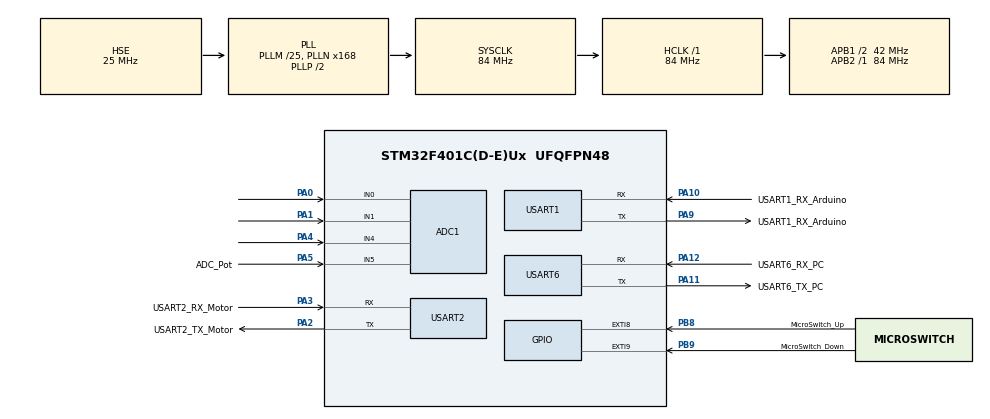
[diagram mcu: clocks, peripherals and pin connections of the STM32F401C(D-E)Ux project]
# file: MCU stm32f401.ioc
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ADC1.Channel-0\#ChannelRegularConversion=ADC_CHANNEL_0
ADC1.Channel-1\#ChannelRegularConversion=ADC_CHANNEL_1
ADC1.Channel-2\#ChannelRegularConversion=ADC_CHANNEL_4
ADC1.Channel-3\#ChannelRegularConversion=ADC_CHANNEL_5
ADC1.ClockPrescaler=ADC_CLOCK_SYNC_PCLK_DIV8
ADC1.ContinuousConvMode=ENABLE
ADC1.DMAContinuousRequests=ENABLE
ADC1.NbrOfConversion=4
ADC1.NbrOfConversionFlag=1
ADC1.Rank-0\#ChannelRegularConversion=1
ADC1.Rank-1\#ChannelRegularConversion=2
ADC1.Rank-2\#ChannelRegularConversion=3
ADC1.Rank-3\#ChannelRegularConversion=4
ADC1.SamplingTime-0\#ChannelRegularConversion=ADC_SAMPLETIME_480CYCLES
ADC1.SamplingTime-1\#ChannelRegularConversion=ADC_SAMPLETIME_480CYCLES
ADC1.SamplingTime-2\#ChannelRegularConversion=ADC_SAMPLETIME_480CYCLES
ADC1.SamplingTime-3\#ChannelRegularConversion=ADC_SAMPLETIME_480CYCLES
ADC1.ScanConvMode=ENABLE
ADC1.master=1
Dma.ADC1.3.Direction=DMA_PERIPH_TO_MEMORY
Dma.ADC1.3.FIFOMode=DMA_FIFOMODE_DISABLE
Dma.ADC1.3.Instance=DMA2_Stream0
Dma.ADC1.3.MemDataAlignment=DMA_MDATAALIGN_WORD
Dma.ADC1.3.MemInc=DMA_MINC_ENABLE
Dma.ADC1.3.Mode=DMA_CIRCULAR
Dma.ADC1.3.PeriphDataAlignment=DMA_PDATAALIGN_WORD
Dma.ADC1.3.PeriphInc=DMA_PINC_DISABLE
Dma.ADC1.3.Priority=DMA_PRIORITY_LOW
Dma.Request0=USART1_RX
Dma.Request1=USART2_RX
Dma.Request2=USART6_RX
Dma.Request3=ADC1
Dma.Request4=USART6_TX
Dma.Request5=USART2_TX
Dma.USART1_RX.0.Direction=DMA_PERIPH_TO_MEMORY
Dma.USART1_RX.0.FIFOMode=DMA_FIFOMODE_DISABLE
Dma.USART1_RX.0.Instance=DMA2_Stream2
Dma.USART1_RX.0.MemDataAlignment=DMA_MDATAALIGN_BYTE
Dma.USART1_RX.0.MemInc=DMA_MINC_ENABLE
Dma.USART1_RX.0.Mode=DMA_NORMAL
Dma.USART1_RX.0.PeriphDataAlignment=DMA_PDATAALIGN_BYTE
Dma.USART1_RX.0.PeriphInc=DMA_PINC_DISABLE
Dma.USART1_RX.0.Priority=DMA_PRIORITY_LOW
Dma.USART2_RX.1.Direction=DMA_PERIPH_TO_MEMORY
Dma.USART2_RX.1.FIFOMode=DMA_FIFOMODE_DISABLE
Dma.USART2_RX.1.Instance=DMA1_Stream5
Dma.USART2_RX.1.MemDataAlignment=DMA_MDATAALIGN_BYTE
Dma.USART2_RX.1.MemInc=DMA_MINC_ENABLE
Dma.USART2_RX.1.Mode=DMA_NORMAL
Dma.USART2_RX.1.PeriphDataAlignment=DMA_PDATAALIGN_BYTE
Dma.USART2_RX.1.PeriphInc=DMA_PINC_DISABLE
Dma.USART2_RX.1.Priority=DMA_PRIORITY_LOW
Dma.USART2_TX.5.Direction=DMA_MEMORY_TO_PERIPH
Dma.USART2_TX.5.FIFOMode=DMA_FIFOMODE_DISABLE
Dma.USART2_TX.5.Instance=DMA1_Stream6
Dma.USART2_TX.5.MemDataAlignment=DMA_MDATAALIGN_BYTE
Dma.USART2_TX.5.MemInc=DMA_MINC_ENABLE
Dma.USART2_TX.5.Mode=DMA_NORMAL
Dma.USART2_TX.5.PeriphDataAlignment=DMA_PDATAALIGN_BYTE
Dma.USART2_TX.5.PeriphInc=DMA_PINC_DISABLE
Dma.USART2_TX.5.Priority=DMA_PRIORITY_LOW
Dma.USART6_RX.2.Direction=DMA_PERIPH_TO_MEMORY
Dma.USART6_RX.2.FIFOMode=DMA_FIFOMODE_DISABLE
Dma.USART6_RX.2.Instance=DMA2_Stream1
Dma.USART6_RX.2.MemDataAlignment=DMA_MDATAALIGN_BYTE
Dma.USART6_RX.2.MemInc=DMA_MINC_ENABLE
Dma.USART6_RX.2.Mode=DMA_NORMAL
Dma.USART6_RX.2.PeriphDataAlignment=DMA_PDATAALIGN_BYTE
Dma.USART6_RX.2.PeriphInc=DMA_PINC_DISABLE
Dma.USART6_RX.2.Priority=DMA_PRIORITY_LOW
Dma.USART6_TX.4.Direction=DMA_MEMORY_TO_PERIPH
Dma.USART6_TX.4.FIFOMode=DMA_FIFOMODE_DISABLE
Dma.USART6_TX.4.Instance=DMA2_Stream6
Dma.USART6_TX.4.MemDataAlignment=DMA_MDATAALIGN_BYTE
Dma.USART6_TX.4.MemInc=DMA_MINC_ENABLE
Dma.USART6_TX.4.Mode=DMA_NORMAL
Dma.USART6_TX.4.PeriphDataAlignment=DMA_PDATAALIGN_BYTE
Dma.USART6_TX.4.PeriphInc=DMA_PINC_DISABLE
Dma.USART6_TX.4.Priority=DMA_PRIORITY_LOW
Mcu.Family=STM32F4
Mcu.Name=STM32F401C(D-E)Ux
Mcu.Package=UFQFPN48
NVIC.DMA1_Stream5_IRQn=true\:0\:0\:false\:false\:true\:false\:true\:true
NVIC.DMA1_Stream6_IRQn=true\:0\:0\:false\:false\:true\:false\:true\:true
NVIC.DMA2_Stream0_IRQn=true\:0\:0\:false\:false\:true\:false\:true\:true
NVIC.DMA2_Stream1_IRQn=true\:0\:0\:false\:false\:true\:false\:true\:true
NVIC.DMA2_Stream2_IRQn=true\:0\:0\:false\:false\:true\:false\:true\:true
NVIC.DMA2_Stream6_IRQn=true\:0\:0\:false\:false\:true\:false\:true\:true
NVIC.EXTI9_5_IRQn=true\:0\:0\:false\:false\:true\:true\:true\:true
NVIC.PriorityGroup=NVIC_PRIORITYGROUP_4
PA0-WKUP.Signal=ADCx_IN0
PA1.Signal=ADCx_IN1
PA10.GPIO_Label=USART1_RX_Arduino
PA10.Mode=Asynchronous
PA10.Signal=USART1_RX
PA11.GPIO_Label=USART6_TX_PC
PA11.Mode=Asynchronous
PA11.Signal=USART6_TX
PA12.GPIO_Label=USART6_RX_PC
PA12.Mode=Asynchronous
PA12.Signal=USART6_RX
PA13.Mode=Serial_Wire
PA13.Signal=SYS_JTMS-SWDIO
PA14.Mode=Serial_Wire
PA14.Signal=SYS_JTCK-SWCLK
PA2.GPIO_Label=USART2_TX_Motor
PA2.Mode=Asynchronous
PA2.Signal=USART2_TX
PA3.GPIO_Label=USART2_RX_Motor
PA3.Mode=Asynchronous
PA3.Signal=USART2_RX
PA4.Signal=ADCx_IN4
PA5.GPIO_Label=ADC_Pot
PA5.Signal=ADCx_IN5
PA9.GPIO_Label=USART1_RX_Arduino
PA9.Mode=Asynchronous
PA9.Signal=USART1_TX
PB8.GPIO_Label=MicroSwitch_Up
PB8.GPIO_PuPd=GPIO_PULLUP
PB8.Signal=GPXTI8
PB9.GPIO_Label=MicroSwitch_Down
PB9.GPIO_ModeDefaultEXTI=GPIO_MODE_IT_FALLING
PB9.GPIO_PuPd=GPIO_PULLUP
PB9.Signal=GPXTI9
PH0\ -\ OSC_IN.Mode=HSE-External-Oscillator
PH0\ -\ OSC_IN.Signal=RCC_OSC_IN
PH1\ -\ OSC_OUT.Mode=HSE-External-Oscillator
PH1\ -\ OSC_OUT.Signal=RCC_OSC_OUT
ProjectManager.HeapSize=0x200
ProjectManager.StackSize=0x400
ProjectManager.TargetToolchain=STM32CubeIDE
RCC.48MHZClocksFreq_Value=42000000
RCC.AHBFreq_Value=84000000
RCC.APB1CLKDivider=RCC_HCLK_DIV2
RCC.APB1Freq_Value=42000000
RCC.APB1TimFreq_Value=84000000
RCC.APB2Freq_Value=84000000
RCC.APB2TimFreq_Value=84000000
RCC.CortexFreq_Value=84000000
RCC.HCLKFreq_Value=84000000
RCC.HSE_VALUE=25000000
RCC.HSI_VALUE=16000000
RCC.LSE_VALUE=32768
RCC.PLLM=25
RCC.PLLN=168
RCC.PLLSourceVirtual=RCC_PLLSOURCE_HSE
RCC.SYSCLKFreq_VALUE=84000000
RCC.SYSCLKSource=RCC_SYSCLKSOURCE_PLLCLK
RCC.VCOOutputFreq_Value=168000000
SH.ADCx_IN0.0=ADC1_IN0,IN0
SH.ADCx_IN1.0=ADC1_IN1,IN1
SH.ADCx_IN4.0=ADC1_IN4,IN4
SH.ADCx_IN5.0=ADC1_IN5,IN5
TIM4.Prescaler=83
USART1.VirtualMode=VM_ASYNC
USART2.VirtualMode=VM_ASYNC
USART6.VirtualMode=VM_ASYNC
VP_TIM4_VS_ClockSourceINT.Mode=Internal
board=custom

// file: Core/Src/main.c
/* USER CODE BEGIN Header */
/**
  ******************************************************************************
  * @file           : main.c
  * @brief          : Main program body
  ******************************************************************************
  * @attention
  *
  * Copyright (c) 2023 STMicroelectronics.
  * All rights reserved.
  *
  * This software is licensed under terms that can be found in the LICENSE file
  * in the root directory of this software component.
  * If no LICENSE file comes with this software, it is provided AS-IS.
  *
  ******************************************************************************
  */
/* USER CODE END Header */
#include "main.h"

/* USER CODE BEGIN Includes */
#include <math.h>
#include <stdio.h>
/* USER CODE END Includes */

/* USER CODE BEGIN PD */
#define PI 3.141592

#define CURRENT_CONTROL_MODE 1
#define POSITION_CONTROL_MODE 2
#define SPEED_CONTROL_MODE 3
#define IMPEDANCE_CONTROL_MODE 4
#define FORCE_CONTROL_MODE 5
#define SYSTEM_IDENTIFICATION_MODE 8
#define MICRO_TEST_MODE 10

#define TOTAL_PACKET_SIZE 8

#define LOADCELL_DATA_ID 1
#define SET_KP_IMPEDANCE_ID 10
#define SET_KD_IMPEDANCE_ID 11
#define SET_KI_IMPEDANCE_ID 12
#define SET_ANKLE_POSITION_SP_ID 13

#define SET_MOTOR_POSITION_SP_ID 21
#define SET_MOTOR_SPEED_SP_ID 22
#define SET_MOTOR_CURRENT_SP_ID 23
#define SET_MOTOR_EMERGENCY_STOP_ID 24
#define EMERGENCY_STOP_MOTOR_ID 27

/* USER CODE END PD */

ADC_HandleTypeDef hadc1;
DMA_HandleTypeDef hdma_adc1;

TIM_HandleTypeDef htim4;

UART_HandleTypeDef huart1;
UART_HandleTypeDef huart2;
UART_HandleTypeDef huart6;
DMA_HandleTypeDef hdma_usart1_rx;
DMA_HandleTypeDef hdma_usart2_rx;
DMA_HandleTypeDef hdma_usart2_tx;
DMA_HandleTypeDef hdma_usart6_rx;
DMA_HandleTypeDef hdma_usart6_tx;

/* USER CODE BEGIN PV */
uint8_t UART1_rxBuffer[TOTAL_PACKET_SIZE] , c , buff_1[TOTAL_PACKET_SIZE];
uint8_t UART2_rxBuffer[TOTAL_PACKET_SIZE], buff_2[TOTAL_PACKET_SIZE];
uint8_t UART6_rxBuffer[TOTAL_PACKET_SIZE], buff_6[TOTAL_PACKET_SIZE];

uint8_t send_data_to_pc = 1; // true

int is_uart1_single_byte_recieved = 1 , is_uart2_single_byte_recieved = 1 , is_uart3_single_byte_recieved = 1;
uint32_t adc_buff[4];
double fsr1,fsr2,fsr3,theta_ankle;

uint8_t MOTOR_ACTIVE_FLAG = 1;
uint8_t control_mode = IMPEDANCE_CONTROL_MODE; //IMPEDANCE_CONTROL_MODE;

double Kp_impedance = 10 , Kd_impedance = 0.0 , Ki_impedance = 0 ;
double alpha_impedance = 0.8 , alpha_force_control = 0.1;
double sp_force_filtered = 0 , control_signal_filtered = 0 ;
double sp_theta_ankle = 0;

uint32_t dt , test_num;
double theta_ankle , theta_ankle_last , theta_dot , theta_dot_filtered , alpha_speed = 0.5;

double err_pos,pid_out,err_pos_dot, sum_err_pos, ff, control_signal , last_err_pos;
double Ki_pos = 10.0,Kd_pos = 0,Kp_pos = 100.0;
double sp_force , err_force,loadcell_force , last_err_force, sum_err_force,Kp_force = 3.0 ,Kd_force=0 , Ki_force =0.1;
double force , alpha_force = 0.85 , ff_impedance = 0;
double current_sp_sysID = 0;
double freq = 3.14;
double amp_sysID = 0 , freq_sysID = 0.2;
double t = 0;
int32_t load_int;
char str_buffer[80];
uint32_t time_ms = 0;
int32_t i, ii , i2 , n_byte;
/* USER CODE END PV */

void SystemClock_Config(void);
static void MX_GPIO_Init(void);
static void MX_DMA_Init(void);
static void MX_USART1_UART_Init(void);
static void MX_USART2_UART_Init(void);
static void MX_USART6_UART_Init(void);
static void MX_ADC1_Init(void);
static void MX_TIM4_Init(void);

/* USER CODE BEGIN 0 */

void send_packet_to_motor(uint8_t command , int32_t val)
{
	//if (command == SET_MOTOR_CURRENT_SP_ID)
	//	current_sp_sysID = ((float)val)/1000.0;

	uint8_t buf[TOTAL_PACKET_SIZE] = {0xAA , 0xAA , command , (val>>24 & 0xFF) , (val>>16 & 0xFF) , (val>>8 & 0xFF) , (val & 0xFF) , 0xBB};
	//HAL_UART_Transmit_DMA(&huart6 , buf , TOTAL_PACKET_SIZE);
	HAL_UART_Transmit(&huart2 , buf , TOTAL_PACKET_SIZE , 10);
}

void send_packet_to_PC(uint8_t command , int32_t val)
{
	uint8_t buf[TOTAL_PACKET_SIZE] = {command , (val>>24 & 0xFF) , (val>>16 & 0xFF) , (val>>8 & 0xFF) , (val & 0xFF)};
	HAL_UART_Transmit_DMA(&huart6 , buf , TOTAL_PACKET_SIZE);
}

void send_packet_to_Arduino(uint8_t command , int32_t val)
{
	uint8_t buf[TOTAL_PACKET_SIZE] = {command , (val>>24 & 0xFF) , (val>>16 & 0xFF) , (val>>8 & 0xFF) , (val & 0xFF)};
	HAL_UART_Transmit_DMA(&huart1 , buf , TOTAL_PACKET_SIZE);
}

void HAL_ADC_ConvCpltCallback(ADC_HandleTypeDef* hadc)
{
	fsr1 = adc_buff[0];
	fsr2 = adc_buff[1];
	fsr3 = adc_buff[2];

	double theta = 0.0008725*(adc_buff[3] - 3000.0);
	theta_ankle = 0.8 * theta_ankle + 0.2 * theta;		// -0.42 rad < theta_ankle < 0.48 rad
}

void push_to_arr(uint8_t* arr , uint8_t  len , uint8_t c)
{
		/*
			arr[0] = arr[1];
			arr[1] = arr[2];
			arr[2] = arr[3];
			arr[3] = arr[4];
			arr[4] = arr[5];
			arr[5] = arr[6];
			arr[6] = arr[7];
			arr[7] = c;
		*/
	for(int i = 0; i<len-1 ;i++)
	{
		arr[i] = arr[i+1];
	}
	arr[len-1] = c;
}
uint8_t check_packet(uint8_t* buf)
{
	if (buf[0]==0xAA && buf[1]==0xAA && buf[7]==0xBB)
		return 1;
	else
		return 0;
}
void read_packet_data(uint8_t* buf)
{
	uint8_t command = buf[2] ;
	int32_t value = (int32_t)((buf[3]<<24) | (buf[4]<<16) | (buf[5]<<8) | (buf[6]));
	if (command == LOADCELL_DATA_ID )
	{
		load_int = value;
		force = ((double)load_int)/1000.0;
		loadcell_force = alpha_force*loadcell_force + (1.0 - alpha_force)*force;
	}
  else if (command == SET_KP_IMPEDANCE_ID)
  {
    Kp_impedance = ((double)value) / 1000.0;
  }
  else if (command == SET_KD_IMPEDANCE_ID)
  {
    Kd_impedance = ((double)value) / 1000.0;
  }
  else if (command == SET_KI_IMPEDANCE_ID)
  {
    Ki_impedance = ((double)value) / 1000.0;
  }
  else if (command == SET_ANKLE_POSITION_SP_ID)
  {
    sp_theta_ankle = ((double)value) / 1000.0;
  }
}

void HAL_UART_RxCpltCallback(UART_HandleTypeDef *huart)
{
	if (huart->Instance == USART1) { 		// Load cell
		if (is_uart1_single_byte_recieved)
		{
			push_to_arr(buff_1 , TOTAL_PACKET_SIZE , UART1_rxBuffer[0]);

			if (check_packet(buff_1))	// correct packet recieved
			{
				read_packet_data(buff_1);
				is_uart1_single_byte_recieved = 0;
				HAL_UART_Receive_DMA(&huart1, UART1_rxBuffer, TOTAL_PACKET_SIZE);
				return ;
			}
			is_uart1_single_byte_recieved = 1;
			HAL_UART_Receive_DMA(&huart1, UART1_rxBuffer, 1);
		}
		else {
			if (check_packet(UART1_rxBuffer))	// correct packet recieved
			{
				i++;
				read_packet_data(UART1_rxBuffer);
				HAL_UART_Receive_DMA(&huart1, UART1_rxBuffer, TOTAL_PACKET_SIZE);
				return ;
			}
			is_uart1_single_byte_recieved = 1;
			HAL_UART_Receive_DMA(&huart1, UART1_rxBuffer, 1);
		}

	}else if (huart->Instance == USART6) {		// PC

		if (is_uart2_single_byte_recieved)
		{
			push_to_arr(buff_2 , TOTAL_PACKET_SIZE , UART2_rxBuffer[0]);

			if (check_packet(buff_2))	// correct packet recieved
			{
				read_packet_data(buff_2);
				is_uart2_single_byte_recieved = 0;
        HAL_UART_Receive_DMA(&huart6, UART2_rxBuffer, TOTAL_PACKET_SIZE);
				return ;
			}
			is_uart2_single_byte_recieved = 1;
      HAL_UART_Receive_DMA(&huart6, UART2_rxBuffer, 1);
		}
		else {
			if (check_packet(UART2_rxBuffer))	// correct packet recieved
			{
				i2++;
				read_packet_data(UART2_rxBuffer);
        HAL_UART_Receive_DMA(&huart6, UART2_rxBuffer, TOTAL_PACKET_SIZE);
				return ;
			}
			is_uart2_single_byte_recieved = 1;
      HAL_UART_Receive_DMA(&huart6, UART2_rxBuffer, 1);
		}

	}else if (huart->Instance == USART2) {		// Motor

	}

}

void HAL_UART_TxCpltCallback(UART_HandleTypeDef *huart)
{
}

void HAL_GPIO_EXTI_Callback(uint16_t GPIO_Pin)
{
    if(GPIO_Pin == MicroSwitch_Down_Pin)
    {
			// send_packet_to_motor(EMERGENCY_STOP_MOTOR_ID , 0);
    } else if(GPIO_Pin == MicroSwitch_Up_Pin)
    {
			// send_packet_to_motor(EMERGENCY_STOP_MOTOR_ID , 0);
    }
}

double saturation_f(double a , double min_ , double max_)
{
	if (a > max_)
		return max_;
	else if (a < min_)
		return  min_;
	else
		return a;
}
int32_t saturation_i(int32_t a , int32_t min_ , int32_t max_)
{
	if (a > max_)
		return max_;
	else if (a < min_)
		return  min_;
	else
		return a;
}
double abs_f(double a)
{
		if (a<0)
			return -a;
		return a;
}

/* USER CODE END 0 */

int main(void)
{

  /* MCU Configuration--------------------------------------------------------*/

  /* Reset of all peripherals, Initializes the Flash interface and the Systick. */
  HAL_Init();

  /* Configure the system clock */
  SystemClock_Config();

  /* Initialize all configured peripherals */
  MX_GPIO_Init();
  MX_DMA_Init();
  MX_USART1_UART_Init();
  MX_USART2_UART_Init();
  MX_USART6_UART_Init();
  MX_ADC1_Init();
  MX_TIM4_Init();
  /* USER CODE BEGIN 2 */

	HAL_TIM_Base_Start(&htim4);
	HAL_ADC_Start_DMA(&hadc1 , adc_buff , 4);
	HAL_UART_Receive_DMA(&huart1 , UART1_rxBuffer , 1);
	HAL_UART_Receive_DMA(&huart6 , UART2_rxBuffer , 1);

  /* USER CODE END 2 */

  /* Infinite loop */
  /* USER CODE BEGIN WHILE */
  while (1)
  {

		t = ((double)HAL_GetTick())/1000.0;
		//double p = 6.2*sin(0.1*t);
		//send_packet_to_motor(SET_MOTOR_POSITION_SP_ID , (int32_t)(p*1000.0) );

		// loop time
		dt = __HAL_TIM_GET_COUNTER(&htim4) ;
		__HAL_TIM_SetCounter(&htim4 , 0);

		// update variable

		theta_dot = 1000000.0*(theta_ankle - theta_ankle_last)/((double)dt);
		theta_ankle_last = theta_ankle;
		theta_dot_filtered = alpha_speed*theta_dot_filtered + (1.0 - alpha_speed)*theta_dot;

		if (HAL_GPIO_ReadPin(MicroSwitch_Down_GPIO_Port , MicroSwitch_Down_Pin) && HAL_GPIO_ReadPin(MicroSwitch_Up_GPIO_Port , MicroSwitch_Up_Pin))
		  MOTOR_ACTIVE_FLAG = 1;
		else
			MOTOR_ACTIVE_FLAG = 0;

		if (control_mode == FORCE_CONTROL_MODE || control_mode == IMPEDANCE_CONTROL_MODE)
		{

			if (control_mode == IMPEDANCE_CONTROL_MODE)
			{
				err_pos = sp_theta_ankle - theta_ankle;
				err_pos_dot =  1000000.0*(err_pos - last_err_pos)/((double)dt);
				last_err_pos = err_pos;
				sum_err_pos = saturation_f(sum_err_pos + err_pos*(dt/1000000.0) , -1 , 1);
				pid_out = Kp_impedance*err_pos + Kd_impedance*err_pos_dot + Ki_impedance*sum_err_pos ;
				ff = ff_impedance;
				control_signal = pid_out + ff;
				sp_force_filtered = alpha_impedance*sp_force_filtered  +  (1.0 - alpha_impedance)*control_signal;
				sp_force = sp_force_filtered;
			}

				// Control force
				{
					err_force = sp_force - loadcell_force;
					err_pos_dot =  1000000.0*(err_force - last_err_force)/((double)dt);
					last_err_force = err_force;
					sum_err_force = saturation_f(sum_err_force + err_force*(dt/1000000.0) , -1 , 1);

					if (abs_f(err_force) < 0.08)
						err_force = 0.0;

					pid_out = Kp_force*err_force + Kd_force*err_pos_dot + Ki_force*sum_err_force ;
					ff = 0;
					control_signal = pid_out + ff;
					control_signal_filtered = alpha_force_control*control_signal_filtered + (1.0 - alpha_force_control)*control_signal;

					if (MOTOR_ACTIVE_FLAG)
						send_packet_to_motor(SET_MOTOR_CURRENT_SP_ID , -1000.0*control_signal_filtered);
					else
						send_packet_to_motor(SET_MOTOR_CURRENT_SP_ID , 1000.0*0);
				}

		}
		else if (control_mode == POSITION_CONTROL_MODE)
		{
			sp_theta_ankle = 0.15*sin(freq*t);
			err_pos = sp_theta_ankle - theta_ankle;
			err_pos_dot =  1000000.0*(err_pos - last_err_pos)/((double)dt);
			last_err_pos = err_pos;
			sum_err_pos = 0;
			pid_out = Kp_pos*err_pos + Kd_pos*err_pos_dot + Ki_pos*sum_err_pos ;
			ff = 0;
			control_signal = pid_out + ff;
			if (MOTOR_ACTIVE_FLAG)
				send_packet_to_motor(SET_MOTOR_SPEED_SP_ID , 1000.0*control_signal);
			else
				send_packet_to_motor(SET_MOTOR_SPEED_SP_ID , 1000.0*0);
		}
		else if (control_mode == MICRO_TEST_MODE)
		{
			char str_buffer[15];

			test_num++;
			n_byte = sprintf(str_buffer, "%.2f \n\r",(float)(test_num%2000)+0.1);
      HAL_UART_Transmit(&huart6, (uint8_t *)str_buffer, n_byte, 2);

			//test
			if (!HAL_GPIO_ReadPin(MicroSwitch_Down_GPIO_Port , MicroSwitch_Down_Pin))
				send_packet_to_motor(SET_MOTOR_SPEED_SP_ID , -4*1000.0);
			else if (!HAL_GPIO_ReadPin(MicroSwitch_Up_GPIO_Port , MicroSwitch_Up_Pin))
				send_packet_to_motor(SET_MOTOR_SPEED_SP_ID , 4*1000.0);
			else
				send_packet_to_motor(SET_MOTOR_SPEED_SP_ID , 0);

		}
		else if (control_mode == SYSTEM_IDENTIFICATION_MODE)
		{

			current_sp_sysID = amp_sysID*sin(2*PI*freq_sysID * t);

			if (MOTOR_ACTIVE_FLAG)
				send_packet_to_motor(SET_MOTOR_CURRENT_SP_ID , -1000.0 * current_sp_sysID);
			else
				send_packet_to_motor(SET_MOTOR_CURRENT_SP_ID , 1000.0*0);
		}
		else {
			if (!HAL_GPIO_ReadPin(MicroSwitch_Down_GPIO_Port , MicroSwitch_Down_Pin))
				send_packet_to_motor(SET_MOTOR_SPEED_SP_ID , -4*1000.0);
			else if (!HAL_GPIO_ReadPin(MicroSwitch_Up_GPIO_Port , MicroSwitch_Up_Pin))
				send_packet_to_motor(SET_MOTOR_SPEED_SP_ID , 4*1000.0);
			else
				send_packet_to_motor(SET_MOTOR_SPEED_SP_ID , 0);
		}

		// send data
		if (send_data_to_pc)
		{

            // time_ms , theta_ankle , theta_dot , sp_theta_ankle , loadcell_force , sp_force , current_sp_sysID
            time_ms = HAL_GetTick();
            n_byte = sprintf(str_buffer, "%d , %.4f , %.4f , %.4f , %.3f , %.3f , %.3f \r\n", time_ms, theta_ankle, theta_dot, sp_theta_ankle, loadcell_force, sp_force, current_sp_sysID);
            HAL_UART_Transmit(&huart6, (uint8_t *)str_buffer, n_byte, 50);
		}

	 HAL_Delay(4);
    /* USER CODE END WHILE */

  }
}

void SystemClock_Config(void)
{
  RCC_OscInitTypeDef RCC_OscInitStruct = {0};
  RCC_ClkInitTypeDef RCC_ClkInitStruct = {0};

  /** Configure the main internal regulator output voltage
  */
  __HAL_RCC_PWR_CLK_ENABLE();
  __HAL_PWR_VOLTAGESCALING_CONFIG(PWR_REGULATOR_VOLTAGE_SCALE2);

  /** Initializes the RCC Oscillators according to the specified parameters
  * in the RCC_OscInitTypeDef structure.
  */
  RCC_OscInitStruct.OscillatorType = RCC_OSCILLATORTYPE_HSE;
  RCC_OscInitStruct.HSEState = RCC_HSE_ON;
  RCC_OscInitStruct.PLL.PLLState = RCC_PLL_ON;
  RCC_OscInitStruct.PLL.PLLSource = RCC_PLLSOURCE_HSE;
  RCC_OscInitStruct.PLL.PLLM = 25;
  RCC_OscInitStruct.PLL.PLLN = 168;
  RCC_OscInitStruct.PLL.PLLP = RCC_PLLP_DIV2;
  RCC_OscInitStruct.PLL.PLLQ = 4;
  if (HAL_RCC_OscConfig(&RCC_OscInitStruct) != HAL_OK)
  {
    Error_Handler();
  }

  /** Initializes the CPU, AHB and APB buses clocks
  */
  RCC_ClkInitStruct.ClockType = RCC_CLOCKTYPE_HCLK|RCC_CLOCKTYPE_SYSCLK
                              |RCC_CLOCKTYPE_PCLK1|RCC_CLOCKTYPE_PCLK2;
  RCC_ClkInitStruct.SYSCLKSource = RCC_SYSCLKSOURCE_PLLCLK;
  RCC_ClkInitStruct.AHBCLKDivider = RCC_SYSCLK_DIV1;
  RCC_ClkInitStruct.APB1CLKDivider = RCC_HCLK_DIV2;
  RCC_ClkInitStruct.APB2CLKDivider = RCC_HCLK_DIV1;

  if (HAL_RCC_ClockConfig(&RCC_ClkInitStruct, FLASH_LATENCY_2) != HAL_OK)
  {
    Error_Handler();
  }
}

static void MX_ADC1_Init(void)
{

  ADC_ChannelConfTypeDef sConfig = {0};

  /** Configure the global features of the ADC (Clock, Resolution, Data Alignment and number of conversion)
  */
  hadc1.Instance = ADC1;
  hadc1.Init.ClockPrescaler = ADC_CLOCK_SYNC_PCLK_DIV8;
  hadc1.Init.Resolution = ADC_RESOLUTION_12B;
  hadc1.Init.ScanConvMode = ENABLE;
  hadc1.Init.ContinuousConvMode = ENABLE;
  hadc1.Init.DiscontinuousConvMode = DISABLE;
  hadc1.Init.ExternalTrigConvEdge = ADC_EXTERNALTRIGCONVEDGE_NONE;
  hadc1.Init.ExternalTrigConv = ADC_SOFTWARE_START;
  hadc1.Init.DataAlign = ADC_DATAALIGN_RIGHT;
  hadc1.Init.NbrOfConversion = 4;
  hadc1.Init.DMAContinuousRequests = ENABLE;
  hadc1.Init.EOCSelection = ADC_EOC_SINGLE_CONV;
  if (HAL_ADC_Init(&hadc1) != HAL_OK)
  {
    Error_Handler();
  }

  /** Configure for the selected ADC regular channel its corresponding rank in the sequencer and its sample time.
  */
  sConfig.Channel = ADC_CHANNEL_0;
  sConfig.Rank = 1;
  sConfig.SamplingTime = ADC_SAMPLETIME_480CYCLES;
  if (HAL_ADC_ConfigChannel(&hadc1, &sConfig) != HAL_OK)
  {
    Error_Handler();
  }

  /** Configure for the selected ADC regular channel its corresponding rank in the sequencer and its sample time.
  */
  sConfig.Channel = ADC_CHANNEL_1;
  sConfig.Rank = 2;
  if (HAL_ADC_ConfigChannel(&hadc1, &sConfig) != HAL_OK)
  {
    Error_Handler();
  }

  /** Configure for the selected ADC regular channel its corresponding rank in the sequencer and its sample time.
  */
  sConfig.Channel = ADC_CHANNEL_4;
  sConfig.Rank = 3;
  if (HAL_ADC_ConfigChannel(&hadc1, &sConfig) != HAL_OK)
  {
    Error_Handler();
  }

  /** Configure for the selected ADC regular channel its corresponding rank in the sequencer and its sample time.
  */
  sConfig.Channel = ADC_CHANNEL_5;
  sConfig.Rank = 4;
  if (HAL_ADC_ConfigChannel(&hadc1, &sConfig) != HAL_OK)
  {
    Error_Handler();
  }

}

static void MX_TIM4_Init(void)
{

  TIM_ClockConfigTypeDef sClockSourceConfig = {0};
  TIM_MasterConfigTypeDef sMasterConfig = {0};

  htim4.Instance = TIM4;
  htim4.Init.Prescaler = 83;
  htim4.Init.CounterMode = TIM_COUNTERMODE_UP;
  htim4.Init.Period = 65535;
  htim4.Init.ClockDivision = TIM_CLOCKDIVISION_DIV1;
  htim4.Init.AutoReloadPreload = TIM_AUTORELOAD_PRELOAD_DISABLE;
  if (HAL_TIM_Base_Init(&htim4) != HAL_OK)
  {
    Error_Handler();
  }
  sClockSourceConfig.ClockSource = TIM_CLOCKSOURCE_INTERNAL;
  if (HAL_TIM_ConfigClockSource(&htim4, &sClockSourceConfig) != HAL_OK)
  {
    Error_Handler();
  }
  sMasterConfig.MasterOutputTrigger = TIM_TRGO_RESET;
  sMasterConfig.MasterSlaveMode = TIM_MASTERSLAVEMODE_DISABLE;
  if (HAL_TIMEx_MasterConfigSynchronization(&htim4, &sMasterConfig) != HAL_OK)
  {
    Error_Handler();
  }

}

static void MX_USART1_UART_Init(void)
{

  huart1.Instance = USART1;
  huart1.Init.BaudRate = 115200;
  huart1.Init.WordLength = UART_WORDLENGTH_8B;
  huart1.Init.StopBits = UART_STOPBITS_1;
  huart1.Init.Parity = UART_PARITY_NONE;
  huart1.Init.Mode = UART_MODE_TX_RX;
  huart1.Init.HwFlowCtl = UART_HWCONTROL_NONE;
  huart1.Init.OverSampling = UART_OVERSAMPLING_16;
  if (HAL_UART_Init(&huart1) != HAL_OK)
  {
    Error_Handler();
  }

}

static void MX_USART2_UART_Init(void)
{

  huart2.Instance = USART2;
  huart2.Init.BaudRate = 115200;
  huart2.Init.WordLength = UART_WORDLENGTH_8B;
  huart2.Init.StopBits = UART_STOPBITS_1;
  huart2.Init.Parity = UART_PARITY_NONE;
  huart2.Init.Mode = UART_MODE_TX_RX;
  huart2.Init.HwFlowCtl = UART_HWCONTROL_NONE;
  huart2.Init.OverSampling = UART_OVERSAMPLING_16;
  if (HAL_UART_Init(&huart2) != HAL_OK)
  {
    Error_Handler();
  }

}

static void MX_USART6_UART_Init(void)
{

  huart6.Instance = USART6;
  huart6.Init.BaudRate = 115200;
  huart6.Init.WordLength = UART_WORDLENGTH_8B;
  huart6.Init.StopBits = UART_STOPBITS_1;
  huart6.Init.Parity = UART_PARITY_NONE;
  huart6.Init.Mode = UART_MODE_TX_RX;
  huart6.Init.HwFlowCtl = UART_HWCONTROL_NONE;
  huart6.Init.OverSampling = UART_OVERSAMPLING_16;
  if (HAL_UART_Init(&huart6) != HAL_OK)
  {
    Error_Handler();
  }

}

static void MX_DMA_Init(void)
{

  /* DMA controller clock enable */
  __HAL_RCC_DMA2_CLK_ENABLE();
  __HAL_RCC_DMA1_CLK_ENABLE();

  /* DMA interrupt init */
  /* DMA1_Stream5_IRQn interrupt configuration */
  HAL_NVIC_SetPriority(DMA1_Stream5_IRQn, 0, 0);
  HAL_NVIC_EnableIRQ(DMA1_Stream5_IRQn);
  /* DMA1_Stream6_IRQn interrupt configuration */
  HAL_NVIC_SetPriority(DMA1_Stream6_IRQn, 0, 0);
  HAL_NVIC_EnableIRQ(DMA1_Stream6_IRQn);
  /* DMA2_Stream0_IRQn interrupt configuration */
  HAL_NVIC_SetPriority(DMA2_Stream0_IRQn, 0, 0);
  HAL_NVIC_EnableIRQ(DMA2_Stream0_IRQn);
  /* DMA2_Stream1_IRQn interrupt configuration */
  HAL_NVIC_SetPriority(DMA2_Stream1_IRQn, 0, 0);
  HAL_NVIC_EnableIRQ(DMA2_Stream1_IRQn);
  /* DMA2_Stream2_IRQn interrupt configuration */
  HAL_NVIC_SetPriority(DMA2_Stream2_IRQn, 0, 0);
  HAL_NVIC_EnableIRQ(DMA2_Stream2_IRQn);
  /* DMA2_Stream6_IRQn interrupt configuration */
  HAL_NVIC_SetPriority(DMA2_Stream6_IRQn, 0, 0);
  HAL_NVIC_EnableIRQ(DMA2_Stream6_IRQn);

}

static void MX_GPIO_Init(void)
{
  GPIO_InitTypeDef GPIO_InitStruct = {0};

  /* GPIO Ports Clock Enable */
  __HAL_RCC_GPIOH_CLK_ENABLE();
  __HAL_RCC_GPIOA_CLK_ENABLE();
  __HAL_RCC_GPIOB_CLK_ENABLE();

  /*Configure GPIO pin : MicroSwitch_Up_Pin */
  GPIO_InitStruct.Pin = MicroSwitch_Up_Pin;
  GPIO_InitStruct.Mode = GPIO_MODE_IT_RISING;
  GPIO_InitStruct.Pull = GPIO_PULLUP;
  HAL_GPIO_Init(MicroSwitch_Up_GPIO_Port, &GPIO_InitStruct);

  /*Configure GPIO pin : MicroSwitch_Down_Pin */
  GPIO_InitStruct.Pin = MicroSwitch_Down_Pin;
  GPIO_InitStruct.Mode = GPIO_MODE_IT_FALLING;
  GPIO_InitStruct.Pull = GPIO_PULLUP;
  HAL_GPIO_Init(MicroSwitch_Down_GPIO_Port, &GPIO_InitStruct);

  /* EXTI interrupt init*/
  HAL_NVIC_SetPriority(EXTI9_5_IRQn, 0, 0);
  HAL_NVIC_EnableIRQ(EXTI9_5_IRQn);

}

void Error_Handler(void)
{
  __disable_irq();
  while (1)
  {
  }
}
